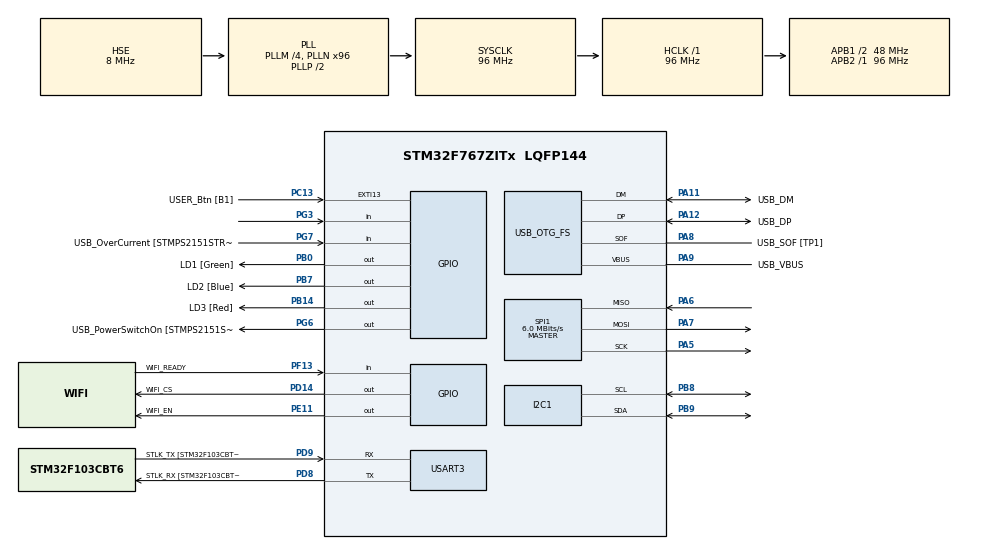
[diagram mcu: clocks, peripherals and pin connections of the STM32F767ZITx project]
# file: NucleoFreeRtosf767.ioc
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I2C1.Timing=0x20303E5D
Mcu.Family=STM32F7
Mcu.Name=STM32F767ZITx
Mcu.Package=LQFP144
NVIC.PriorityGroup=NVIC_PRIORITYGROUP_4
NVIC.TIM6_DAC_IRQn=true\:0\:0\:false\:false\:true\:false\:true
NVIC.TimeBase=TIM6_DAC_IRQn
NVIC.TimeBaseIP=TIM6
PA10.GPIO_Label=USB_ID
PA10.Signal=USB_OTG_FS_ID
PA11.GPIO_Label=USB_DM
PA11.Mode=Device_Only
PA11.Signal=USB_OTG_FS_DM
PA12.GPIO_Label=USB_DP
PA12.Mode=Device_Only
PA12.Signal=USB_OTG_FS_DP
PA13.GPIO_Label=TMS
PA13.Mode=Serial_Wire
PA13.Signal=SYS_JTMS-SWDIO
PA14.GPIO_Label=TCK
PA14.Mode=Serial_Wire
PA14.Signal=SYS_JTCK-SWCLK
PA5.Mode=Full_Duplex_Master
PA5.Signal=SPI1_SCK
PA6.Mode=Full_Duplex_Master
PA6.Signal=SPI1_MISO
PA7.Mode=Full_Duplex_Master
PA7.Signal=SPI1_MOSI
PA8.GPIO_Label=USB_SOF [TP1]
PA8.Mode=Activate_SOF_FS
PA8.Signal=USB_OTG_FS_SOF
PA9.GPIO_Label=USB_VBUS
PA9.Mode=Activate_VBUS
PA9.Signal=USB_OTG_FS_VBUS
PB0.GPIO_Label=LD1 [Green]
PB0.Signal=GPIO_Output
PB14.GPIO_Label=LD3 [Red]
PB14.Signal=GPIO_Output
PB3.GPIO_Label=SWO
PB3.Signal=SYS_JTDO-SWO
PB7.GPIO_Label=LD2 [Blue]
PB7.Signal=GPIO_Output
PB8.Mode=I2C
PB8.Signal=I2C1_SCL
PB9.Mode=I2C
PB9.Signal=I2C1_SDA
PC13.GPIO_Label=USER_Btn [B1]
PC13.Signal=GPXTI13
PC14/OSC32_IN.Mode=LSE-External-Oscillator
PC14/OSC32_IN.Signal=RCC_OSC32_IN
PC15/OSC32_OUT.Mode=LSE-External-Oscillator
PC15/OSC32_OUT.Signal=RCC_OSC32_OUT
PD14.GPIO_Label=WIFI_CS
PD14.Signal=GPIO_Output
PD8.GPIO_Label=STLK_RX [STM32F103CBT6_PA3]
PD8.Mode=Asynchronous
PD8.Signal=USART3_TX
PD9.GPIO_Label=STLK_TX [STM32F103CBT6_PA2]
PD9.Mode=Asynchronous
PD9.Signal=USART3_RX
PE11.GPIO_Label=WIFI_EN
PE11.Signal=GPIO_Output
PF13.GPIO_Label=WIFI_READY
PF13.Signal=GPIO_Input
PG13.GPIO_Label=RMII_TXD0 [LAN8742A-CZ-TR_TXD0]
PG13.Signal=ETH_TXD0
PG3.Signal=GPIO_Input
PG6.GPIO_Label=USB_PowerSwitchOn [STMPS2151STR_EN]
PG6.Signal=GPIO_Output
PG7.GPIO_Label=USB_OverCurrent [STMPS2151STR_FAULT]
PG7.Signal=GPIO_Input
PH0/OSC_IN.GPIO_Label=MCO [STM32F103CBT6_PA8]
PH0/OSC_IN.Mode=HSE-External-Clock-Source
PH0/OSC_IN.Signal=RCC_OSC_IN
PH1/OSC_OUT.Mode=HSE-External-Clock-Source
PH1/OSC_OUT.Signal=RCC_OSC_OUT
ProjectManager.HeapSize=0x200
ProjectManager.StackSize=0x400
ProjectManager.TargetToolchain=STM32CubeIDE
RCC.48MHZClocksFreq_Value=24000000
RCC.AHBFreq_Value=96000000
RCC.APB1CLKDivider=RCC_HCLK_DIV2
RCC.APB1Freq_Value=48000000
RCC.APB1TimFreq_Value=96000000
RCC.APB2Freq_Value=96000000
RCC.APB2TimFreq_Value=96000000
RCC.CortexFreq_Value=96000000
RCC.HCLKFreq_Value=96000000
RCC.HSE_VALUE=8000000
RCC.HSI_VALUE=16000000
RCC.PLLM=4
RCC.PLLMUL=RCC_PLL_MUL9
RCC.PLLN=96
RCC.PLLQ=4
RCC.PRESCALERUSB=RCC_USBCLKSOURCE_PLL_DIV1_5
RCC.SYSCLKFreq_VALUE=96000000
RCC.SYSCLKSource=RCC_SYSCLKSOURCE_PLLCLK
RCC.SYSCLKSourceVirtual=RCC_SYSCLKSOURCE_PLLCLK
RCC.USBFreq_Value=48000000
RCC.VCOOutputFreq_Value=192000000
SPI1.BaudRatePrescaler=SPI_BAUDRATEPRESCALER_16
SPI1.CLKPolarity=SPI_POLARITY_LOW
SPI1.CalculateBaudRate=6.0 MBits/s
SPI1.DataSize=SPI_DATASIZE_8BIT
SPI1.Direction=SPI_DIRECTION_2LINES
SPI1.Mode=SPI_MODE_MASTER
SPI1.VirtualType=VM_MASTER
USART3.VirtualMode-Asynchronous=VM_ASYNC
USB_OTG_FS.VirtualMode=Device_Only
VP_SYS_VS_tim6.Mode=TIM6
board=NUCLEO-F767ZI

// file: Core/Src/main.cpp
/* USER CODE BEGIN Header */
/**
  ******************************************************************************
  * @file           : main.c
  * @brief          : Main program body
  ******************************************************************************
  * @attention
  *
  * <h2><center>&copy; Copyright (c) 2020 STMicroelectronics.
  * All rights reserved.</center></h2>
  *
  * This software component is licensed by ST under BSD 3-Clause license,
  * the "License"; You may not use this file except in compliance with the
  * License. You may obtain a copy of the License at:
  *                        opensource.org/licenses/BSD-3-Clause
  *
  ******************************************************************************
  */
/* USER CODE END Header */
#include "main.h"
//#include "cmsis_os.h"

/* USER CODE BEGIN Includes */
#include "WiFi.h"
#include "secret.h"
/* USER CODE END Includes */

/* USER CODE BEGIN PD */
#define SERVER "aleo.systems"
#define PATH   "/api/09037"
/* USER CODE END PD */

I2C_HandleTypeDef hi2c1;

SPI_HandleTypeDef hspi1;

UART_HandleTypeDef huart3;

PCD_HandleTypeDef hpcd_USB_OTG_FS;

WiFiClass WiFi;
//WiFiClient client;
WiFiSSLClient client;

/* Definitions for defaultTask */

/*
osThreadId_t defaultTaskHandle;
const osThreadAttr_t defaultTask_attributes = {
  .name = "defaultTask",
  .attr_bits = osThreadDetached,
	.cb_mem = NULL,
	.cb_size = 0,

  .stack_mem = NULL,
  .stack_size = 128 * 4,
  .priority = (osPriority_t) osPriorityNormal,
  .tz_module = 0,
  .reserved = 0
};
*/

/* Definitions for myTask02 */
/*
osThreadId_t myTask02Handle;
const osThreadAttr_t myTask02_attributes = {
  .name = "myTask02",
  .attr_bits = osThreadDetached,
	.cb_mem = NULL,
	.cb_size = 0,
  .stack_mem = NULL,
  .stack_size = 128 * 4,
  .priority = (osPriority_t) osPriorityLow,
  .tz_module = 0,
  .reserved = 0
};
*/
/* Definitions for myBinarySem01 */
/*
osSemaphoreId_t myBinarySem01Handle;
const osSemaphoreAttr_t myBinarySem01_attributes = {
  .name = "myBinarySem01"
};
*/

void SystemClock_Config(void);
static void MX_GPIO_Init(void);
static void MX_USART3_UART_Init(void);
static void MX_USB_OTG_FS_PCD_Init(void);
static void MX_I2C1_Init(void);
static void MX_SPI1_Init(void);
void StartDefaultTask(void *argument);
void StartTask02(void *argument);

int main(void)
{

  /* MCU Configuration--------------------------------------------------------*/

  /* Reset of all peripherals, Initializes the Flash interface and the Systick. */
  HAL_Init();

  /* Configure the system clock */
  SystemClock_Config();

  /* Initialize all configured peripherals */
  MX_GPIO_Init();
  MX_USART3_UART_Init();
  MX_USB_OTG_FS_PCD_Init();
  MX_I2C1_Init();
  MX_SPI1_Init();
  /* USER CODE BEGIN 2 */
  //init_tcs34725();
  init_mcp23008();
  init_mcp4922();
  HAL_GPIO_WritePin(WIFI_EN_GPIO_Port, WIFI_EN_Pin, GPIO_PIN_SET);
  //WiFi.setPins();
  if(WiFi.status()==WL_NO_MODULE){
	HAL_GPIO_TogglePin(GPIOB,LD3_Pin);
	}

  String fv = WiFi.firmwareVersion();
  fv.concat("\r\n");
  HAL_UART_Transmit(&huart3, (uint8_t* )fv.c_str(), (uint16_t)fv.length(), HAL_MAX_DELAY);

  char ssid[] = SSID;
  char pass[] = PASSWORD;
  int status = WL_IDLE_STATUS;
  do {
	status = WiFi.begin(ssid, pass);
	delay(100);     // wait until connection is ready!
  } while (status != WL_CONNECTED);

  String connected = "Connected!";
  HAL_UART_Transmit(&huart3, (uint8_t* )connected.c_str(), (uint16_t)connected.length(), HAL_MAX_DELAY);

  if (client.connect(SERVER, 443)) {
	//Serial.println("connected to server");
	// Make a HTTP request:
	client.println("GET " PATH " HTTP/1.1");
	client.println("Host: " SERVER);
	client.println("Connection: close");
	client.println();
  }

  /* USER CODE END 2 */

  /* Init scheduler */
  //osKernelInitialize();

  /* Create the semaphores(s) */
  /* creation of myBinarySem01 */
  //myBinarySem01Handle = osSemaphoreNew(1, 1, &myBinarySem01_attributes);

  /* Create the thread(s) */
  /* creation of defaultTask */
  //defaultTaskHandle = osThreadNew(StartDefaultTask, NULL, &defaultTask_attributes);

  /* creation of myTask02 */
  //myTask02Handle = osThreadNew(StartTask02, NULL, &myTask02_attributes);

  /* Start scheduler */
  //osKernelStart();

  /* We should never get here as control is now taken by the scheduler */
  /* Infinite loop */
  while (1)
  {

	  while (client.available()) {
	    char c = client.read();
	    HAL_UART_Transmit(&huart3, (uint8_t* )&c, 1, HAL_MAX_DELAY);
	    //bytes++;
	  }

	  // if the server's disconnected, stop the client:
	  if (!client.connected()) {
	    //Serial.println();
	    //Serial.println("disconnecting from server.");
	    client.stop();
	    //Serial.print("Read "); Serial.print(bytes); Serial.println(" bytes");

	    // do nothing forevermore:
	    while (true);
	  }

	      		      	/*
	      	int numSsid = WiFi.scanNetworks();
	      	fv = numSsid;
	      	HAL_UART_Transmit(&huart3, (uint8_t* )fv.c_str(), (uint16_t)fv.length(), HAL_MAX_DELAY);
	      	  for (int thisNet = 0; thisNet < numSsid; thisNet++) {
	      	    char val = static_cast<char>(thisNet);
	      	    String line = &val;
	      	    line.concat(") ");
	      	    line.concat(WiFi.SSID(thisNet));
	      	    line.concat("\tSignal: ");
	      	    line.concat(WiFi.RSSI(thisNet));
	      	    line.concat(" dBm");
	      	    line.concat("\r\n");
	      	    HAL_UART_Transmit(&huart3, (uint8_t* )line.c_str(), (uint16_t)line.length(), HAL_MAX_DELAY);

	      	  }
	      	  */
	      	/*
	      	int status = WL_IDLE_STATUS;
	      	  do {
	      	    status = WiFi.begin(ssid, pass);
	      	    delay(100);     // wait until connection is ready!
	      	  } while (status != WL_CONNECTED);
	      	  char server[] = "wifitest.adafruit.com";    // name address for adafruit test
	      	  char path[]   = "/testwifi/index.html";

	      	  if (client.connect(server, 80)) {
	      	    // Make a HTTP request:

	      		  String connected = "Connected!";
	      		  HAL_UART_Transmit(&huart3, (uint8_t* )connected.c_str(), (uint16_t)connected.length(), HAL_MAX_DELAY);

	      	    client.print("GET "); client.print(path); client.println(" HTTP/1.1");
	      	    client.print("Host: "); client.println(server);
	      	    client.println("Connection: close");
	      	    client.println();
	      	  }

	      	  while (client.available()) {
	      	    char c = client.read();
	      	    HAL_UART_Transmit(&huart3, (uint8_t* )&c, 1, HAL_MAX_DELAY);
	      	  }

	      	  if (!client.connected()) {
	      	    client.stop();
	      	  }

	      	  HAL_GPIO_TogglePin(GPIOB,LD2_Pin);
	      	  //WiFi.disconnect();
	      	  //WiFi.end();
	      	  HAL_Delay(1000);
	      	  //HAL_UART_Transmit(&huart3, (uint8_t* )&status, 1, HAL_MAX_DELAY);

	      	   */

  }
}

void SystemClock_Config(void)
{
  RCC_OscInitTypeDef RCC_OscInitStruct = {0};
  RCC_ClkInitTypeDef RCC_ClkInitStruct = {0};
  RCC_PeriphCLKInitTypeDef PeriphClkInitStruct = {0};

  /** Configure LSE Drive Capability
  */
  HAL_PWR_EnableBkUpAccess();
  /** Configure the main internal regulator output voltage
  */
  __HAL_RCC_PWR_CLK_ENABLE();
  __HAL_PWR_VOLTAGESCALING_CONFIG(PWR_REGULATOR_VOLTAGE_SCALE3);
  /** Initializes the RCC Oscillators according to the specified parameters
  * in the RCC_OscInitTypeDef structure.
  */
  RCC_OscInitStruct.OscillatorType = RCC_OSCILLATORTYPE_HSE;
  RCC_OscInitStruct.HSEState = RCC_HSE_BYPASS;
  RCC_OscInitStruct.PLL.PLLState = RCC_PLL_ON;
  RCC_OscInitStruct.PLL.PLLSource = RCC_PLLSOURCE_HSE;
  RCC_OscInitStruct.PLL.PLLM = 4;
  RCC_OscInitStruct.PLL.PLLN = 96;
  RCC_OscInitStruct.PLL.PLLP = RCC_PLLP_DIV2;
  RCC_OscInitStruct.PLL.PLLQ = 4;
  if (HAL_RCC_OscConfig(&RCC_OscInitStruct) != HAL_OK)
  {
    Error_Handler();
  }
  /** Activate the Over-Drive mode
  */
  if (HAL_PWREx_EnableOverDrive() != HAL_OK)
  {
    Error_Handler();
  }
  /** Initializes the CPU, AHB and APB buses clocks
  */
  RCC_ClkInitStruct.ClockType = RCC_CLOCKTYPE_HCLK|RCC_CLOCKTYPE_SYSCLK
                              |RCC_CLOCKTYPE_PCLK1|RCC_CLOCKTYPE_PCLK2;
  RCC_ClkInitStruct.SYSCLKSource = RCC_SYSCLKSOURCE_PLLCLK;
  RCC_ClkInitStruct.AHBCLKDivider = RCC_SYSCLK_DIV1;
  RCC_ClkInitStruct.APB1CLKDivider = RCC_HCLK_DIV2;
  RCC_ClkInitStruct.APB2CLKDivider = RCC_HCLK_DIV1;

  if (HAL_RCC_ClockConfig(&RCC_ClkInitStruct, FLASH_LATENCY_3) != HAL_OK)
  {
    Error_Handler();
  }
  PeriphClkInitStruct.PeriphClockSelection = RCC_PERIPHCLK_USART3|RCC_PERIPHCLK_I2C1
                              |RCC_PERIPHCLK_CLK48;
  PeriphClkInitStruct.Usart3ClockSelection = RCC_USART3CLKSOURCE_PCLK1;
  PeriphClkInitStruct.I2c1ClockSelection = RCC_I2C1CLKSOURCE_PCLK1;
  PeriphClkInitStruct.Clk48ClockSelection = RCC_CLK48SOURCE_PLL;
  if (HAL_RCCEx_PeriphCLKConfig(&PeriphClkInitStruct) != HAL_OK)
  {
    Error_Handler();
  }
}

static void MX_I2C1_Init(void)
{

  hi2c1.Instance = I2C1;
  hi2c1.Init.Timing = 0x20303E5D;
  hi2c1.Init.OwnAddress1 = 0;
  hi2c1.Init.AddressingMode = I2C_ADDRESSINGMODE_7BIT;
  hi2c1.Init.DualAddressMode = I2C_DUALADDRESS_DISABLE;
  hi2c1.Init.OwnAddress2 = 0;
  hi2c1.Init.OwnAddress2Masks = I2C_OA2_NOMASK;
  hi2c1.Init.GeneralCallMode = I2C_GENERALCALL_DISABLE;
  hi2c1.Init.NoStretchMode = I2C_NOSTRETCH_DISABLE;
  if (HAL_I2C_Init(&hi2c1) != HAL_OK)
  {
    Error_Handler();
  }
  /** Configure Analogue filter
  */
  if (HAL_I2CEx_ConfigAnalogFilter(&hi2c1, I2C_ANALOGFILTER_ENABLE) != HAL_OK)
  {
    Error_Handler();
  }
  /** Configure Digital filter
  */
  if (HAL_I2CEx_ConfigDigitalFilter(&hi2c1, 0) != HAL_OK)
  {
    Error_Handler();
  }

}

static void MX_SPI1_Init(void)
{

  /* SPI1 parameter configuration*/
  hspi1.Instance = SPI1;
  hspi1.Init.Mode = SPI_MODE_MASTER;
  hspi1.Init.Direction = SPI_DIRECTION_2LINES;
  hspi1.Init.DataSize = SPI_DATASIZE_8BIT;
  hspi1.Init.CLKPolarity = SPI_POLARITY_LOW;
  hspi1.Init.CLKPhase = SPI_PHASE_1EDGE;
  hspi1.Init.NSS = SPI_NSS_SOFT;
  hspi1.Init.BaudRatePrescaler = SPI_BAUDRATEPRESCALER_16;
  hspi1.Init.FirstBit = SPI_FIRSTBIT_MSB;
  hspi1.Init.TIMode = SPI_TIMODE_DISABLE;
  hspi1.Init.CRCCalculation = SPI_CRCCALCULATION_DISABLE;
  hspi1.Init.CRCPolynomial = 7;
  hspi1.Init.CRCLength = SPI_CRC_LENGTH_DATASIZE;
  hspi1.Init.NSSPMode = SPI_NSS_PULSE_ENABLE;
  if (HAL_SPI_Init(&hspi1) != HAL_OK)
  {
    Error_Handler();
  }

}

static void MX_USART3_UART_Init(void)
{

  huart3.Instance = USART3;
  huart3.Init.BaudRate = 115200;
  huart3.Init.WordLength = UART_WORDLENGTH_8B;
  huart3.Init.StopBits = UART_STOPBITS_1;
  huart3.Init.Parity = UART_PARITY_NONE;
  huart3.Init.Mode = UART_MODE_TX_RX;
  huart3.Init.HwFlowCtl = UART_HWCONTROL_NONE;
  huart3.Init.OverSampling = UART_OVERSAMPLING_16;
  huart3.Init.OneBitSampling = UART_ONE_BIT_SAMPLE_DISABLE;
  huart3.AdvancedInit.AdvFeatureInit = UART_ADVFEATURE_NO_INIT;
  if (HAL_UART_Init(&huart3) != HAL_OK)
  {
    Error_Handler();
  }

}

static void MX_USB_OTG_FS_PCD_Init(void)
{

  hpcd_USB_OTG_FS.Instance = USB_OTG_FS;
  hpcd_USB_OTG_FS.Init.dev_endpoints = 6;
  hpcd_USB_OTG_FS.Init.speed = PCD_SPEED_FULL;
  hpcd_USB_OTG_FS.Init.dma_enable = DISABLE;
  hpcd_USB_OTG_FS.Init.phy_itface = PCD_PHY_EMBEDDED;
  hpcd_USB_OTG_FS.Init.Sof_enable = ENABLE;
  hpcd_USB_OTG_FS.Init.low_power_enable = DISABLE;
  hpcd_USB_OTG_FS.Init.lpm_enable = DISABLE;
  hpcd_USB_OTG_FS.Init.vbus_sensing_enable = ENABLE;
  hpcd_USB_OTG_FS.Init.use_dedicated_ep1 = DISABLE;
  if (HAL_PCD_Init(&hpcd_USB_OTG_FS) != HAL_OK)
  {
    Error_Handler();
  }

}

static void MX_GPIO_Init(void)
{
  GPIO_InitTypeDef GPIO_InitStruct = {0};

  /* GPIO Ports Clock Enable */
  __HAL_RCC_GPIOC_CLK_ENABLE();
  __HAL_RCC_GPIOH_CLK_ENABLE();
  __HAL_RCC_GPIOA_CLK_ENABLE();
  __HAL_RCC_GPIOB_CLK_ENABLE();
  __HAL_RCC_GPIOF_CLK_ENABLE();
  __HAL_RCC_GPIOE_CLK_ENABLE();
  __HAL_RCC_GPIOD_CLK_ENABLE();
  __HAL_RCC_GPIOG_CLK_ENABLE();

  /*Configure GPIO pin Output Level */
  HAL_GPIO_WritePin(GPIOB, LD1_Pin|LD3_Pin|LD2_Pin, GPIO_PIN_RESET);

  /*Configure GPIO pin Output Level */
  HAL_GPIO_WritePin(WIFI_EN_GPIO_Port, WIFI_EN_Pin, GPIO_PIN_RESET);

  /*Configure GPIO pin Output Level */
  HAL_GPIO_WritePin(WIFI_CS_GPIO_Port, WIFI_CS_Pin, GPIO_PIN_RESET);

  /*Configure GPIO pin Output Level */
  HAL_GPIO_WritePin(USB_PowerSwitchOn_GPIO_Port, USB_PowerSwitchOn_Pin, GPIO_PIN_RESET);

  /*Configure GPIO pin : USER_Btn_Pin */
  GPIO_InitStruct.Pin = USER_Btn_Pin;
  GPIO_InitStruct.Mode = GPIO_MODE_IT_RISING;
  GPIO_InitStruct.Pull = GPIO_NOPULL;
  HAL_GPIO_Init(USER_Btn_GPIO_Port, &GPIO_InitStruct);

  /*Configure GPIO pins : LD1_Pin LD3_Pin LD2_Pin */
  GPIO_InitStruct.Pin = LD1_Pin|LD3_Pin|LD2_Pin;
  GPIO_InitStruct.Mode = GPIO_MODE_OUTPUT_PP;
  GPIO_InitStruct.Pull = GPIO_NOPULL;
  GPIO_InitStruct.Speed = GPIO_SPEED_FREQ_LOW;
  HAL_GPIO_Init(GPIOB, &GPIO_InitStruct);

  /*Configure GPIO pin : WIFI_READY_Pin */
  GPIO_InitStruct.Pin = WIFI_READY_Pin;
  GPIO_InitStruct.Mode = GPIO_MODE_INPUT;
  GPIO_InitStruct.Pull = GPIO_NOPULL;
  HAL_GPIO_Init(WIFI_READY_GPIO_Port, &GPIO_InitStruct);

  /*Configure GPIO pin : WIFI_EN_Pin */
  GPIO_InitStruct.Pin = WIFI_EN_Pin;
  GPIO_InitStruct.Mode = GPIO_MODE_OUTPUT_PP;
  GPIO_InitStruct.Pull = GPIO_NOPULL;
  GPIO_InitStruct.Speed = GPIO_SPEED_FREQ_LOW;
  HAL_GPIO_Init(WIFI_EN_GPIO_Port, &GPIO_InitStruct);

  /*Configure GPIO pin : WIFI_CS_Pin */
  GPIO_InitStruct.Pin = WIFI_CS_Pin;
  GPIO_InitStruct.Mode = GPIO_MODE_OUTPUT_PP;
  GPIO_InitStruct.Pull = GPIO_NOPULL;
  GPIO_InitStruct.Speed = GPIO_SPEED_FREQ_LOW;
  HAL_GPIO_Init(WIFI_CS_GPIO_Port, &GPIO_InitStruct);

  /*Configure GPIO pins : PG3 USB_OverCurrent_Pin */
  GPIO_InitStruct.Pin = GPIO_PIN_3|USB_OverCurrent_Pin;
  GPIO_InitStruct.Mode = GPIO_MODE_INPUT;
  GPIO_InitStruct.Pull = GPIO_NOPULL;
  HAL_GPIO_Init(GPIOG, &GPIO_InitStruct);

  /*Configure GPIO pin : USB_PowerSwitchOn_Pin */
  GPIO_InitStruct.Pin = USB_PowerSwitchOn_Pin;
  GPIO_InitStruct.Mode = GPIO_MODE_OUTPUT_PP;
  GPIO_InitStruct.Pull = GPIO_NOPULL;
  GPIO_InitStruct.Speed = GPIO_SPEED_FREQ_LOW;
  HAL_GPIO_Init(USB_PowerSwitchOn_GPIO_Port, &GPIO_InitStruct);

  /*Configure GPIO pin : RMII_TXD0_Pin */
  GPIO_InitStruct.Pin = RMII_TXD0_Pin;
  GPIO_InitStruct.Mode = GPIO_MODE_AF_PP;
  GPIO_InitStruct.Pull = GPIO_NOPULL;
  GPIO_InitStruct.Speed = GPIO_SPEED_FREQ_VERY_HIGH;
  GPIO_InitStruct.Alternate = GPIO_AF11_ETH;
  HAL_GPIO_Init(RMII_TXD0_GPIO_Port, &GPIO_InitStruct);

}

void HAL_TIM_PeriodElapsedCallback(TIM_HandleTypeDef *htim)
{
  if (htim->Instance == TIM6) {
    HAL_IncTick();
  }
}

void Error_Handler(void)
{
}

/************************ (C) COPYRIGHT STMicroelectronics *****END OF FILE****/
